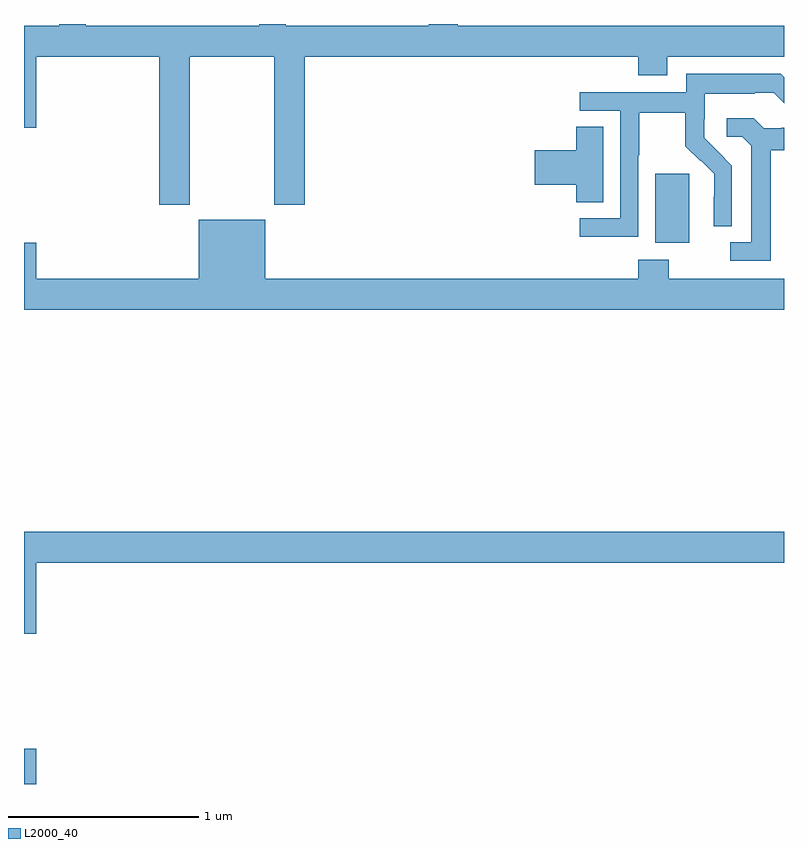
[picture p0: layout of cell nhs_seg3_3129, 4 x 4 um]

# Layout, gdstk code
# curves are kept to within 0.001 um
import gdstk
lib = gdstk.Library(unit=1e-6, precision=1e-09)
def R(c, l, rs):  # rectangles x0, y0, x1, y1
    for r in rs: c.add(gdstk.rectangle(r[:2], r[2:], *l))
def P(c, l, *ps):  # polygons
    for p in ps: c.add(gdstk.Polygon(p, *l))
L2000_40 = (2000, 40)

nhs_seg3_3129 = lib.new_cell('nhs_seg3_3129')
R(nhs_seg3_3129, L2000_40, [(273,718.4,273.064,718.585), (276.323,721.25,276.502,721.611)])
P(nhs_seg3_3129, L2000_40, [(273.873,722.228),(274.318,722.228),(274.318,721.449),(274.478,721.449),(274.478,722.228),(276.233,722.228),(276.233,722.129),(276.385,722.129),(276.385,722.228),(277,722.228),(277,722.392),(275.282,722.392),(275.282,722.4),(275.129,722.4),(275.129,722.392),(274.377,722.392),(274.377,722.4),(274.239,722.4),(274.239,722.392),(273.325,722.392),(273.325,722.4),(273.185,722.4),(273.185,722.392),(273,722.392),(273,721.854),(273.064,721.854),(273.064,722.228),(273.713,722.228),(273.713,721.449),(273.873,721.449)],
  [(276.234,721.708),(276.237,721.708),(276.237,721.932),(276.481,721.932),(276.481,721.757),(276.558,721.68),(276.561,721.683),(276.632,721.613),(276.632,721.49),(276.63,721.49),(276.63,721.336),(276.726,721.336),(276.726,721.654),(276.58,721.802),(276.58,721.899),(276.582,721.899),(276.582,722.033),(276.845,722.033),(276.845,722.037),(276.945,722.037),(277,721.982),(277,722.12),(276.983,722.137),(276.486,722.137),(276.486,722.04),(275.925,722.04),(275.925,721.944),(276.138,721.944),(276.138,721.377),(275.925,721.377),(275.925,721.279),(276.234,721.279)],
  [(276.931,721.736),(277,721.736),(277,721.854),(276.988,721.854),(276.988,721.851),(276.894,721.851),(276.842,721.903),(276.699,721.903),(276.699,721.806),(276.78,721.806),(276.827,721.759),(276.827,721.251),(276.717,721.251),(276.717,721.155),(276.931,721.155)],
  [(276.049,721.859),(275.906,721.859),(275.906,721.736),(275.688,721.736),(275.688,721.553),(275.906,721.553),(275.906,721.462),(276.049,721.462)],
  [(277,721.06),(276.393,721.06),(276.393,721.159),(276.233,721.159),(276.233,721.06),(274.27,721.06),(274.27,721.369),(273.92,721.369),(273.92,721.06),(273.064,721.06),(273.064,721.249),(273,721.249),(273,720.896),(277,720.896)],
  [(273.064,719.564),(277,719.564),(277,719.728),(273,719.728),(273,719.19),(273.064,719.19)])

lib.write_gds('nhs_seg3_3129.gds')
